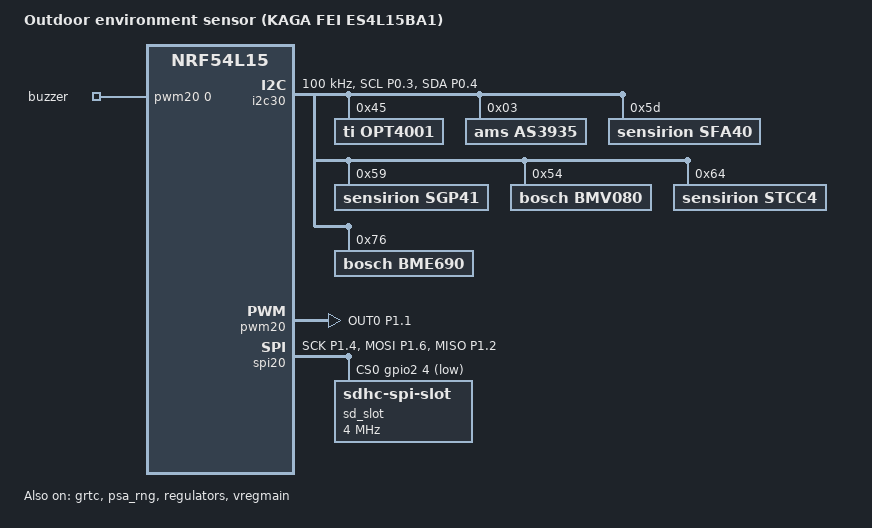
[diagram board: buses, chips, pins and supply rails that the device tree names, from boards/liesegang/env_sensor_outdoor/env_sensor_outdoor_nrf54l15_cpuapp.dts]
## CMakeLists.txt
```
cmake_minimum_required(VERSION 3.20.0)

list(APPEND BOARD_ROOT ${CMAKE_CURRENT_SOURCE_DIR})
# NCS 3.4.1 caches these generated names without Kconfig string quotes.
# Clear its internal cache entries before Zephyr interprets them as CLI options.
foreach(crypto_header MBEDTLS_CONFIG_FILE TF_PSA_CRYPTO_CONFIG_FILE TF_PSA_CRYPTO_USER_CONFIG_FILE)
  unset(CONFIG_${crypto_header} CACHE)
endforeach()
find_package(Zephyr REQUIRED HINTS $ENV{ZEPHYR_BASE})
project(env_sensor_outdoor)

target_sources(app PRIVATE src/main.c)
add_subdirectory(driver)
add_subdirectory(telemetry)

add_subdirectory(logging)
```

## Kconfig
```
mainmenu "Outdoor environment sensor bring-up"

source "Kconfig.zephyr"

config APP_BLE
	bool "Publish packed sensor readings over one BLE characteristic"
	depends on APP_SENSOR_READ
	default y
	select BT
	select BT_PERIPHERAL

rsource "driver/buzzer/Kconfig"

config APP_I2C_SCAN
	bool "Scan the sensor I2C bus once after startup"
	default y
	select I2C

config APP_SENSOR_READ
	bool "Read the sensors once per second"
	default y
	select I2C

rsource "driver/bmv080/Kconfig"
rsource "driver/as3935/Kconfig"
rsource "../../shared/firmware/driver/sfa40/Kconfig"

menuconfig APP_BUZZER_TEST
	bool "Play the startup buzzer test"
	default n

if APP_BUZZER_TEST

menu "Buzzer test timing"

config BUZZER_ON_MS
	int "Duration of each beep (ms)"
	range 1 100
	default 50

config BUZZER_INTERVAL_MS
	int "Interval between beep starts (ms)"
	range 1000 10000
	default 1000

config BUZZER_BEEP_COUNT
	int "Number of beeps after startup"
	range 1 100
	default 3

config BUZZER_STARTUP_DELAY_MS
	int "Silent delay after startup (ms)"
	range 1000 10000
	default 2000

endmenu

endif

config APP_SD_LOG
	bool "Batch one-second sensor readings to CSV on SD every minute"
	depends on APP_SENSOR_READ
	default y
	select SPI
	select DISK_ACCESS
	select FILE_SYSTEM
	select FAT_FILESYSTEM_ELM
```

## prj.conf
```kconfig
CONFIG_PWM=y
CONFIG_I2C=y
CONFIG_I2C_NRFX_TRANSFER_TIMEOUT=100
CONFIG_APP_I2C_SCAN=y
CONFIG_APP_SENSOR_READ=y
CONFIG_APP_BLE=y
CONFIG_CLOCK_CONTROL_NRF_K32SRC_RC_CALIBRATION=y
CONFIG_CLOCK_CONTROL_NRF_K32SRC_500PPM=y
CONFIG_BT_DEVICE_NAME="Outdoor Sensor"
CONFIG_BT_MAX_CONN=1
CONFIG_BT_L2CAP_TX_MTU=247
CONFIG_BT_BUF_ACL_RX_SIZE=251
CONFIG_BT_BUF_ACL_TX_SIZE=251
CONFIG_BT_PERIPHERAL_PREF_MIN_INT=12
CONFIG_BT_PERIPHERAL_PREF_MAX_INT=24
CONFIG_BT_PERIPHERAL_PREF_LATENCY=0
CONFIG_BT_PERIPHERAL_PREF_TIMEOUT=400
CONFIG_SYSTEM_WORKQUEUE_STACK_SIZE=3072
CONFIG_APP_BUZZER_TEST=n
# BMV080 remains disabled; AS3935 and SFA40 are connected.
CONFIG_APP_BMV080=n
CONFIG_APP_AS3935=y
CONFIG_APP_SFA40=y

# No spare UART connection on this board: console runs over SWD/RTT.
CONFIG_CONSOLE=y
CONFIG_USE_SEGGER_RTT=y
CONFIG_RTT_CONSOLE=y
CONFIG_UART_CONSOLE=n
CONFIG_SERIAL=n
CONFIG_PRINTK=y
CONFIG_SEGGER_RTT_MODE_NO_BLOCK_SKIP=y
CONFIG_SEGGER_RTT_BUFFER_SIZE_UP=8192

CONFIG_MAIN_STACK_SIZE=4096
CONFIG_ASSERT=y
CONFIG_BUILD_OUTPUT_HEX=y
CONFIG_NRF_APPROTECT_DISABLE=y

CONFIG_BUZZER_FREQUENCY_HZ=2000
CONFIG_BUZZER_DUTY_PERMILLE=500

CONFIG_APP_SD_LOG=y
# Mount only existing FAT media: never format a user's card automatically.
CONFIG_FS_FATFS_MOUNT_MKFS=n
CONFIG_FS_FATFS_MKFS=n
CONFIG_FS_FATFS_HAS_RTC=y
CONFIG_FS_FATFS_NUM_FILES=1
CONFIG_FS_FATFS_NUM_DIRS=1
```

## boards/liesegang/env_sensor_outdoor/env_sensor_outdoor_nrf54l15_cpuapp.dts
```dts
/dts-v1/;

#include <nordic/nrf54l15_cpuapp.dtsi>
#include <zephyr/dt-bindings/gpio/gpio.h>
#include <zephyr/dt-bindings/i2c/i2c.h>
#include <zephyr/dt-bindings/pinctrl/nrf-pinctrl.h>
#include <zephyr/dt-bindings/pwm/pwm.h>
#include <zephyr/dt-bindings/regulator/nrf5x.h>

/ {
	model = "Outdoor environment sensor (KAGA FEI ES4L15BA1)";
	compatible = "liesegang,env-sensor-outdoor";

	chosen {
		zephyr,entropy = &psa_rng;
		zephyr,sram = &cpuapp_sram;
		zephyr,flash = &cpuapp_rram;
		zephyr,flash-controller = &rram_controller;
	};

	aliases {
		buzzer = &buzzer;
		i2c-sensors = &i2c30;
	};

	buzzers {
		compatible = "pwm-leds";

		buzzer: buzzer {
			/* Positive pulses turn on TR1 through the 180-ohm R1. */
			pwms = <&pwm20 0 PWM_HZ(2000) PWM_POLARITY_NORMAL>;
		};
	};
};

&cpuapp_sram {
	status = "okay";
};

&clock {
	status = "okay";
};

&grtc {
	owned-channels = <0 1 2 3 4 5 6 7 8 9 10 11>;
	child-owned-channels = <3 4 7 8 9 10 11>;
	status = "okay";
};

&lfxo {
	/* XL2 is the buzzer pin; enabling LFXO would steal P1.01. */
	status = "disabled";
};

&hfxo {
	/* Explicit nRF54L15 reference crystal setup for radio bring-up. */
	load-capacitors = "internal";
	load-capacitance-femtofarad = <15000>;
};

&psa_rng {
	status = "okay";
};

&regulators {
	status = "okay";
};

&vregmain {
	/* ES4L15BA1 requires DCDC; L1 (4.7 uH) is populated. */
	status = "okay";
	regulator-initial-mode = <NRF5X_REG_MODE_DCDC>;
};

&gpio0 {
	status = "okay";
};

&gpio1 {
	status = "okay";
};

&gpiote20 {
	status = "okay";
};

&gpiote30 {
	status = "okay";
};

&pinctrl {
	i2c30_default: i2c30_default {
		group1 {
			/* R5/R6 provide external 5.1-kohm pull-ups. */
			psels = <NRF_PSEL(TWIM_SCL, 0, 3)>,
				<NRF_PSEL(TWIM_SDA, 0, 4)>;
		};
	};

	i2c30_sleep: i2c30_sleep {
		group1 {
			psels = <NRF_PSEL(TWIM_SCL, 0, 3)>,
				<NRF_PSEL(TWIM_SDA, 0, 4)>;
			low-power-enable;
		};
	};

	buzzer_default: buzzer_default {
		group1 {
			psels = <NRF_PSEL(PWM_OUT0, 1, 1)>;
			/* Non-inverted PWM pins initialize low in Nordic pinctrl. */
		};
	};
};

&i2c30 {
	status = "okay";
	clock-frequency = <I2C_BITRATE_STANDARD>;
	pinctrl-0 = <&i2c30_default>;
	pinctrl-1 = <&i2c30_sleep>;
	pinctrl-names = "default", "sleep";

	opt4001: light@45 {
		compatible = "ti,opt4001";
		reg = <0x45>;
	};

	as3935: lightning@3 {
		compatible = "ams,as3935";
		/* Connected module ACKs at 0x03; IRQ is not wired to the MCU. */
		reg = <0x03>;
	};

	sfa40: formaldehyde@5d {
		compatible = "sensirion,sfa40";
		reg = <0x5d>;
	};

	sgp41: gas@59 {
		compatible = "sensirion,sgp41";
		reg = <0x59>;
	};

	bmv080: particulate@54 {
		compatible = "bosch,bmv080";
		reg = <0x54>;
	};

	stcc4: co2@64 {
		compatible = "sensirion,stcc4";
		reg = <0x64>;
		measurement-mode = <0>;
	};

	bme690: environment@76 {
		compatible = "bosch,bme690";
		reg = <0x76>;
	};
};

&pwm20 {
	status = "okay";
	pinctrl-0 = <&buzzer_default>;
	pinctrl-names = "default";
};

&pinctrl {
	sd_spi_default: sd_spi_default {
		group1 { psels = <NRF_PSEL(SPIM_SCK, 1, 4)>, <NRF_PSEL(SPIM_MOSI, 1, 6)>; };
		group2 { psels = <NRF_PSEL(SPIM_MISO, 1, 2)>; bias-pull-up; };
	};
	sd_spi_sleep: sd_spi_sleep {
		group1 {
			psels = <NRF_PSEL(SPIM_SCK, 1, 4)>, <NRF_PSEL(SPIM_MOSI, 1, 6)>, <NRF_PSEL(SPIM_MISO, 1, 2)>;
			low-power-enable;
		};
	};
};

&spi20 {
	status = "okay";
	pinctrl-0 = <&sd_spi_default>;
	pinctrl-1 = <&sd_spi_sleep>;
	pinctrl-names = "default", "sleep";
	cs-gpios = <&gpio2 4 GPIO_ACTIVE_LOW>;
	sd_slot: sd@0 {
		compatible = "zephyr,sdhc-spi-slot";
		reg = <0>;
		spi-max-frequency = <4000000>;
		sd_card: sd { compatible = "zephyr,sdmmc-disk"; disk-name = "SD"; };
	};
};

&gpio2 { status = "okay"; };

&uicr {
	/* P1.02 is the SD MISO input; disable NFC pad protection. */
	nfct-pins-as-gpios;
};
```

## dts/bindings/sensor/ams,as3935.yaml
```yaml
description: AS3935 lightning sensor with I2C interface
compatible: "ams,as3935"
include: i2c-device.yaml
properties:
  indoor:
    type: boolean
    description: Use indoor gain; absence selects outdoor gain.
  noise-floor-level:
    type: int
    default: 2
    enum: [0, 1, 2, 3, 4, 5, 6, 7]
  watchdog-threshold:
    type: int
    default: 2
    enum: [0, 1, 2, 3, 4, 5, 6, 7, 8, 9, 10, 11, 12, 13, 14, 15]
  spike-rejection:
    type: int
    default: 2
    enum: [0, 1, 2, 3, 4, 5, 6, 7, 8, 9, 10, 11, 12, 13, 14, 15]
  minimum-lightnings:
    type: int
    default: 1
    enum: [1, 5, 9, 16]
  mask-disturbers:
    type: boolean
  tuning-capacitor:
    type: int
    enum: [0, 1, 2, 3, 4, 5, 6, 7, 8, 9, 10, 11, 12, 13, 14, 15]
    description: Tuning capacitance in 8-pF steps; absence preserves the existing setting.
```

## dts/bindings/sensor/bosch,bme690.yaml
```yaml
description: Bosch BME690 temperature, pressure, humidity and gas sensor
compatible: "bosch,bme690"
include: i2c-device.yaml
```

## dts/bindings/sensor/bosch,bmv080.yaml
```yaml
description: Bosch BMV080 particulate matter sensor, driven by the external Bosch SDK
compatible: "bosch,bmv080"
include: i2c-device.yaml
```

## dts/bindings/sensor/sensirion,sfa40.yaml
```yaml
description: Sensirion SFA40 formaldehyde sensor
compatible: "sensirion,sfa40"
include: i2c-device.yaml
```

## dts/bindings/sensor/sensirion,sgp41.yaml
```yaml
description: Sensirion SGP41 VOC and NOx gas sensor
compatible: "sensirion,sgp41"
include: i2c-device.yaml
```

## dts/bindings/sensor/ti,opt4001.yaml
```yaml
description: TI OPT4001 ambient light sensor (DTS package)
compatible: "ti,opt4001"
include: i2c-device.yaml
```

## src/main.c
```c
#include <buzzer.h>
#if defined(CONFIG_APP_BLE) || defined(CONFIG_APP_SD_LOG)
#include <telemetry.h>
#if defined(CONFIG_APP_SD_LOG)
#include <sd_log.h>
#endif
#endif
#if defined(CONFIG_APP_SENSOR_READ)
#include <bme690.h>
#if defined(CONFIG_APP_BMV080)
#include <bmv080_driver.h>
#endif
#if defined(CONFIG_APP_AS3935)
#include <as3935.h>
#endif
#if defined(CONFIG_APP_SFA40)
#include <sfa40.h>
#endif
#include <opt4001.h>
#include <sgp41.h>
#include <stcc4.h>
#endif

#include <errno.h>
#include <zephyr/drivers/gpio.h>
#include <zephyr/drivers/i2c.h>
#include <zephyr/kernel.h>
#include <zephyr/sys/printk.h>

#if defined(CONFIG_APP_I2C_SCAN)
static int scan_i2c(void)
{
	const struct device *bus = DEVICE_DT_GET(DT_ALIAS(i2c_sensors));
	unsigned int found = 0;
	uint8_t unused = 0;
	struct i2c_msg probe = {
		.buf = &unused,
		.len = 0,
		.flags = I2C_MSG_WRITE | I2C_MSG_STOP,
	};

	if (!device_is_ready(bus)) {
		printk("ERROR: I2C controller is not ready\n");
		return -ENODEV;
	}

	/* Allow the powered sensors to finish startup before probing. */
	k_msleep(1000);
	int recovery = i2c_recover_bus(bus);

	if (recovery != 0) {
		const struct device *gpio = DEVICE_DT_GET(DT_NODELABEL(gpio0));

		printk("ERROR: I2C bus recovery: %d; SCL=%d SDA=%d\n", recovery,
		       gpio_pin_get(gpio, 3), gpio_pin_get(gpio, 4));
		return recovery;
	}
	printk("I2C SCAN START: %s, SCL P0.03, SDA P0.04, %u Hz, 7-bit 0x01..0x03 + 0x08..0x77\n",
	       bus->name, DT_PROP(DT_ALIAS(i2c_sensors), clock_frequency));
	for (uint16_t address = 0x01; address <= 0x77; address++) {
		/* AS3935 uses 0x01..0x03; skip general call and other reserved IDs. */
		if (address > 0x03 && address < 0x08) {
			continue;
		}
		/* Address + STOP only: no sensor command or register data. */
		int err = i2c_transfer(bus, &probe, 1, address);

		if (err == 0) {
			printk("I2C FOUND: 0x%02x\n", address);
			found++;
		} else if (err != -EIO && err != -ENXIO) {
			printk("ERROR: I2C probe 0x%02x failed: %d; scan aborted\n", address, err);
			return err;
		}
		k_msleep(2);
	}
	printk("I2C SCAN DONE: %u device(s)\n", found);
	return 0;
}
#endif

#if defined(CONFIG_APP_SENSOR_READ)
static int init_errors[7];
static bool opt_ready;
static bool sgp_ready;
static bool stcc_ready;
static bool bme_ready;
#if defined(CONFIG_APP_BMV080)
static bool bmv_ready;
#endif
#if defined(CONFIG_APP_AS3935)
static bool lightning_ready;
#endif
#if defined(CONFIG_APP_SFA40)
static bool hcho_ready;
#endif

static bool report_init(const char *name, int err)
{
	if (err != 0) {
		printk("ERROR: %s init failed: %d\n", name, err);
		return false;
	}
	printk("%s READY\n", name);
	return true;
}

static void print_milli(int32_t value)
{
	uint32_t magnitude = value < 0 ? (uint32_t)-(int64_t)value : (uint32_t)value;

	printk("%s%u.%03u", value < 0 ? "-" : "", magnitude / 1000, magnitude % 1000);
}

static void read_sensors(uint32_t sequence)
{
#if defined(CONFIG_APP_BLE) || defined(CONFIG_APP_SD_LOG)
	struct telemetry_sample frame = {
		.sequence = sequence,
		.uptime_ms = k_uptime_get(),
		.enabled_mask = 0x0f,
		.opt4001.error = init_errors[0],
		.bme690.error = init_errors[1],
		.sgp41.error = init_errors[2],
		.stcc4.error = init_errors[3],
	};
#if defined(CONFIG_APP_BMV080)
	frame.enabled_mask |= 0x10;
	frame.bmv080.error = init_errors[4];
#endif
#if defined(CONFIG_APP_AS3935)
	frame.enabled_mask |= 0x20;
	frame.as3935.error = init_errors[5];
#endif
#if defined(CONFIG_APP_SFA40)
	frame.enabled_mask |= 0x40;
	frame.sfa40.error = init_errors[6];
#endif
#else
	ARG_UNUSED(sequence);
#endif
	int32_t compensation_temp = 25000;
	int32_t compensation_rh = 50000;
	const char *compensation_source = "default";
	int err;

	if (opt_ready) {
		struct opt4001_sample sample;

		err = opt4001_read(&sample);
#if defined(CONFIG_APP_BLE) || defined(CONFIG_APP_SD_LOG)
		frame.opt4001.error = err;
		if (err == 0) { frame.opt4001.value = sample; }
#endif
		if (err == 0) {
			printk("OPT4001: lux=");
			print_milli(sample.millilux);
			printk(" mantissa=%u exponent=%u counter=%u id=0x%04x\n",
			       sample.mantissa, sample.exponent, sample.counter, sample.device_id);
		} else {
			printk("ERROR: OPT4001 read: %d\n", err);
		}
	}
	if (bme_ready) {
		struct bme690_sample sample;

		err = bme690_read(&sample);
#if defined(CONFIG_APP_BLE) || defined(CONFIG_APP_SD_LOG)
		frame.bme690.error = err;
		if (err == 0) { frame.bme690.value = sample; }
#endif
		if (err == 0) {
			compensation_temp = sample.temperature_mc;
			compensation_rh = sample.humidity_mpercent;
			compensation_source = "BME690";
			printk("BME690: temp_C=");
			print_milli(sample.temperature_mc);
			printk(" rh_pct=");
			print_milli(sample.humidity_mpercent);
			printk(" pressure_Pa=%u gas_ohm=%u gas_valid=%u heater_stable=%u "
			       "status=0x%02x meas=%u gas_index=%u res_heat=%u idac=%u "
			       "gas_wait=%u chip=0x%02x variant=%u\n",
			       sample.pressure_pa, sample.gas_resistance_ohm, sample.gas_valid,
			       sample.heater_stable, sample.status, sample.measurement_index,
			       sample.gas_index, sample.heater_resistance, sample.heater_current,
			       sample.gas_wait, sample.chip_id, sample.variant_id);
		} else {
			printk("ERROR: BME690 read: %d\n", err);
		}
	}
	if (stcc_ready) {
		struct stcc4_sample sample;

		err = stcc4_read(&sample);
#if defined(CONFIG_APP_BLE) || defined(CONFIG_APP_SD_LOG)
		frame.stcc4.error = err;
		if (err == 0) { frame.stcc4.value = sample; }
#endif
		if (err == 0) {
			compensation_temp = sample.temperature_mc;
			compensation_rh = sample.humidity_mpercent;
			compensation_source = "STCC4/SHT45";
			printk("STCC4: co2_ppm=%d status=0x%04x product=0x%08x serial=%016llx\n",
			       sample.co2_ppm, sample.status, sample.product_id,
			       (unsigned long long)sample.serial_number);
			printk("SHT45: via=STCC4 temp_C=");
			print_milli(sample.temperature_mc);
			printk(" rh_pct=");
			print_milli(sample.humidity_mpercent);
			printk(" raw_t=%u raw_rh=%u\n", sample.raw_temperature, sample.raw_humidity);
		} else {
			printk("ERROR: STCC4 read: %d\n", err);
		}
	}
	if (sgp_ready) {
		struct sgp41_sample sample;

		err = sgp41_read(compensation_temp, compensation_rh, &sample);
#if defined(CONFIG_APP_BLE) || defined(CONFIG_APP_SD_LOG)
		frame.sgp41.error = err;
		if (err == 0) { frame.sgp41.value = sample; }
#endif
		if (err == 0) {
			printk("SGP41: raw_voc=%u raw_nox=%u nox_valid=%u conditioning=%u "
			       "voc_index=%u voc_index_valid=%u nox_index=%u nox_index_valid=%u "
			       "comp=%s temp_ticks=%u rh_ticks=%u "
			       "self_test=0x%04x serial=%012llx\n",
			       sample.raw_voc, sample.raw_nox, sample.nox_valid, sample.conditioning,
			       sample.voc_index, sample.voc_index_valid, sample.nox_index, sample.nox_index_valid,
			       sample.conditioning ? "default" : compensation_source, sample.temperature_ticks,
			       sample.humidity_ticks, sample.self_test,
			       (unsigned long long)sample.serial_number);
		} else {
			printk("ERROR: SGP41 read: %d\n", err);
		}
	}
#if defined(CONFIG_APP_BMV080)
	if (bmv_ready) {
		struct bmv080_sample sample;

		err = bmv080_driver_read(&sample);
#if defined(CONFIG_APP_BLE) || defined(CONFIG_APP_SD_LOG)
		frame.bmv080.error = err;
		if (err == 0) { frame.bmv080.value = sample; }
#endif
		if (err == 0) {
			printk("BMV080: pm1_ug_m3=");
			print_milli(sample.pm1_mass_milliug_m3);
			printk(" pm2_5_ug_m3=");
			print_milli(sample.pm2_5_mass_milliug_m3);
			printk(" pm10_ug_m3=");
			print_milli(sample.pm10_mass_milliug_m3);
			printk(" pm1_particles_cm3=");
			print_milli(sample.pm1_number_milliparticles_cm3);
			printk(" pm2_5_particles_cm3=");
			print_milli(sample.pm2_5_number_milliparticles_cm3);
			printk(" pm10_particles_cm3=");
			print_milli(sample.pm10_number_milliparticles_cm3);
			printk(" obstructed=%u outside_range=%u runtime_ms=%llu seq=%u "
			       "age_ms=%u fresh=%u\n", sample.is_obstructed,
			       sample.is_outside_measurement_range, (unsigned long long)sample.runtime_ms,
			       sample.sequence, sample.age_ms, sample.fresh);
		} else if (err == -EAGAIN) {
			printk("BMV080: waiting for first SDK output\n");
		} else {
			printk("ERROR: BMV080 read: %d\n", err);
		}
	}
#endif
#if defined(CONFIG_APP_SFA40)
	if (hcho_ready) {
		struct sfa40_sample sample;

		err = sfa40_read(&sample);
#if defined(CONFIG_APP_BLE) || defined(CONFIG_APP_SD_LOG)
		frame.sfa40.error = err;
		if (err == 0) { frame.sfa40.value = sample; }
#endif
		if (err == 0) {
			printk("SFA40: hcho_ppb=");
			print_milli(sample.hcho_millippb);
			printk(" temp_C=");
			print_milli(sample.temperature_mc);
			printk(" rh_pct=");
			print_milli(sample.humidity_mpercent);
			printk(" ready=%u within_spec=%u status=0x%02x raw_hcho=%u "
			       "raw_t=%u raw_rh=%u product=0x%08x serial=%012llx\n",
			       sample.ready, sample.within_specification, sample.status,
			       sample.raw_hcho, sample.raw_temperature, sample.raw_humidity,
			       sample.product_id, (unsigned long long)sample.serial_number);
		} else {
			printk("ERROR: SFA40 read: %d\n", err);
		}
	}
#endif
#if defined(CONFIG_APP_AS3935)
	if (lightning_ready) {
		struct as3935_sample sample;

		err = as3935_read(&sample);
#if defined(CONFIG_APP_BLE) || defined(CONFIG_APP_SD_LOG)
		frame.as3935.error = err;
		if (err == 0) { frame.as3935.value = sample; }
#endif
		if (err == 0) {
			printk("AS3935: irq=0x%02x lightning=%u noise_high=%u disturber=%u "
			       "energy=%u distance_km=%d distance_code=%u valid=%u overhead=%u "
			       "out_of_range=%u indoor=%u powered_down=%u noise_floor=%u "
			       "watchdog=%u spike_rejection=%u minimum_lightnings=%u "
			       "mask_disturbers=%u tuning_cap=%u trco=0x%02x srco=0x%02x\n",
			       sample.interrupt_reason, sample.lightning, sample.noise_high,
			       sample.disturber, sample.energy, sample.distance_km,
			       sample.distance_code, sample.distance_valid, sample.storm_overhead,
			       sample.out_of_range, sample.indoor, sample.powered_down,
			       sample.noise_floor, sample.watchdog_threshold, sample.spike_rejection,
			       sample.minimum_lightnings, sample.disturbers_masked,
			       sample.tuning_capacitor, sample.trco_calibration, sample.srco_calibration);
		} else {
			printk("ERROR: AS3935 read: %d\n", err);
		}
	}
#endif
#if defined(CONFIG_APP_BLE) || defined(CONFIG_APP_SD_LOG)
#if defined(CONFIG_APP_BLE)
	telemetry_ble_publish(&frame);
#endif
#if defined(CONFIG_APP_SD_LOG)
	sd_log_submit(&frame);
#endif
#endif
}

static void monitor_sensors(void)
{
	opt_ready = report_init("OPT4001", init_errors[0] = opt4001_init());
	bme_ready = report_init("BME690", init_errors[1] = bme690_init());
	sgp_ready = report_init("SGP41", init_errors[2] = sgp41_init());
	stcc_ready = report_init("STCC4", init_errors[3] = stcc4_init());
#if defined(CONFIG_APP_BMV080)
	bmv_ready = report_init("BMV080", init_errors[4] = bmv080_driver_init());
#endif
#if defined(CONFIG_APP_SFA40)
	hcho_ready = report_init("SFA40", init_errors[6] = sfa40_init());
#endif
#if defined(CONFIG_APP_AS3935)
	lightning_ready = report_init("AS3935", init_errors[5] = as3935_init());
#endif
	/* STCC4 needs its first full continuous-measurement interval. */
	k_msleep(1100);
	int64_t first_ms = k_uptime_get();
	int64_t next_ms = first_ms;

	for (unsigned int sequence = 1; ; sequence++) {
		k_sleep(K_TIMEOUT_ABS_MS(next_ms));
		printk("SAMPLE %u at %lld ms\n", sequence,
		       (long long)(k_uptime_get() - first_ms));
		read_sensors(sequence);
		next_ms += 1000;
		int64_t now = k_uptime_get();

		if (next_ms <= now) {
			/* Skip expired slots instead of issuing measurements back-to-back. */
			int64_t missed = (now - next_ms) / 1000 + 1;

			next_ms += missed * 1000;
			printk("SAMPLE OVERRUN: skipped %lld interval(s)\n", (long long)missed);
		}
	}
}
#endif

#if defined(CONFIG_APP_BUZZER_TEST)
static int test_buzzer(void)
{
	printk("Buzzer timing: on %u ms, interval %u ms, count %u, startup %u ms\n",
	       CONFIG_BUZZER_ON_MS, CONFIG_BUZZER_INTERVAL_MS, CONFIG_BUZZER_BEEP_COUNT,
	       CONFIG_BUZZER_STARTUP_DELAY_MS);
	k_msleep(CONFIG_BUZZER_STARTUP_DELAY_MS);

	int64_t first_beep_ms = k_uptime_get();

	for (unsigned int i = 0; i < CONFIG_BUZZER_BEEP_COUNT; i++) {
		k_sleep(K_TIMEOUT_ABS_MS(first_beep_ms + (int64_t)i * CONFIG_BUZZER_INTERVAL_MS));
		int err = buzzer_start();
		if (err != 0) {
			printk("ERROR: cannot start buzzer: %d\n", err);
			return err;
		}
		printk("BUZZER ON %u/%u at %lld ms\n", i + 1, CONFIG_BUZZER_BEEP_COUNT,
		       (long long)(k_uptime_get() - first_beep_ms));
		k_msleep(CONFIG_BUZZER_ON_MS);

		err = buzzer_stop();
		if (err != 0) {
			printk("ERROR: cannot silence buzzer: %d\n", err);
			return err;
		}
		printk("BUZZER OFF %u/%u\n", i + 1, CONFIG_BUZZER_BEEP_COUNT);
	}
	printk("BUZZER DONE\n");
	return 0;
}
#endif

int main(void)
{
	int err = buzzer_init();

	if (err == 0) {
		err = buzzer_stop();
	}
	if (err != 0) {
		printk("ERROR: cannot silence buzzer: %d\n", err);
		return 0;
	}
	printk("BUZZER STOPPED\n");

#if defined(CONFIG_APP_BLE)
	err = telemetry_ble_init();
	if (err != 0) { printk("ERROR: BLE init: %d\n", err); }
#endif
#if defined(CONFIG_APP_I2C_SCAN)
	(void)scan_i2c();
#endif
#if defined(CONFIG_APP_BUZZER_TEST)
	(void)test_buzzer();
#endif
#if defined(CONFIG_APP_SENSOR_READ)
	monitor_sensors();
#endif
	return 0;
}
```
